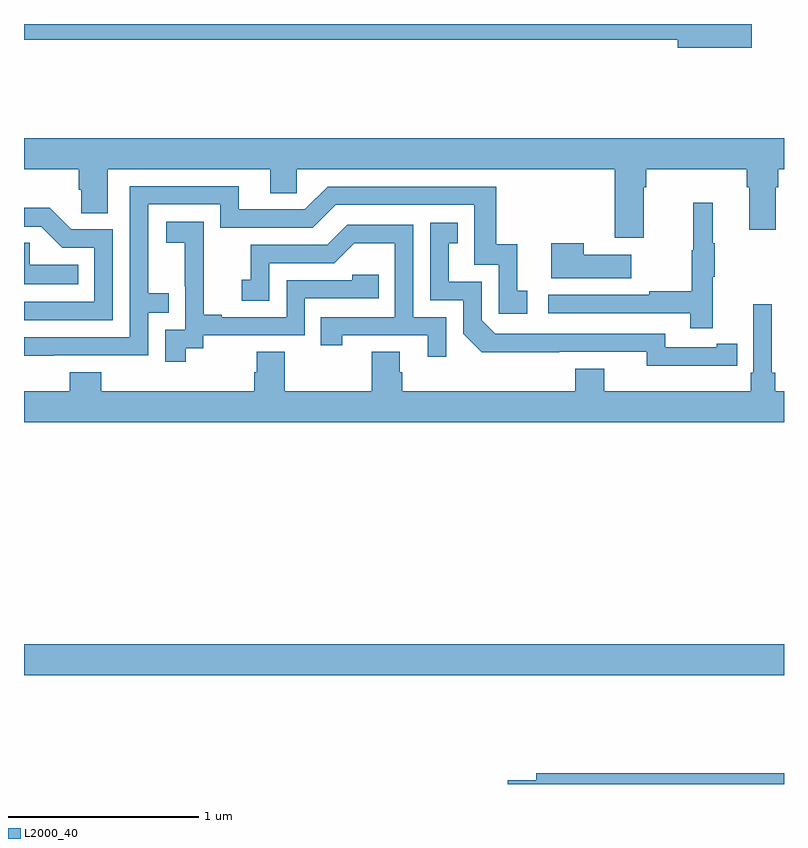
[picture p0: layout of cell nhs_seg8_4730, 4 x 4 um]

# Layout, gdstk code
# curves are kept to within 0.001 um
import gdstk
lib = gdstk.Library(unit=1e-6, precision=1e-09)
def R(c, l, rs):  # rectangles x0, y0, x1, y1
    for r in rs: c.add(gdstk.rectangle(r[:2], r[2:], *l))
def P(c, l, *ps):  # polygons
    for p in ps: c.add(gdstk.Polygon(p, *l))
L2000_40 = (2000, 40)

nhs_seg8_4730 = lib.new_cell('nhs_seg8_4730')
R(nhs_seg8_4730, L2000_40, [(397,1144.472,401,1144.636)])
P(nhs_seg8_4730, L2000_40, [(400.831,1147.9),(397,1147.9),(397,1147.816),(400.442,1147.816),(400.442,1147.774),(400.831,1147.774)],
  [(400.261,1147.04),(400.274,1147.04),(400.274,1147.136),(400.805,1147.136),(400.805,1147.04),(400.817,1147.04),(400.817,1146.816),(400.957,1146.816),(400.957,1147.04),(400.97,1147.04),(400.97,1147.136),(401,1147.136),(401,1147.3),(397,1147.3),(397,1147.136),(397.289,1147.136),(397.289,1147.027),(397.302,1147.027),(397.302,1146.904),(397.441,1146.904),(397.441,1147.136),(398.297,1147.136),(398.297,1147.009),(398.436,1147.009),(398.436,1147.136),(400.109,1147.136),(400.109,1146.774),(400.261,1146.774)],
  [(397.157,1146.156),(397.653,1146.156),(397.653,1146.381),(397.763,1146.381),(397.763,1146.482),(397.653,1146.482),(397.653,1146.951),(398.034,1146.951),(398.034,1146.828),(398.52,1146.828),(398.64,1146.948),(399.369,1146.948),(399.369,1146.633),(399.498,1146.633),(399.498,1146.375),(399.649,1146.375),(399.649,1146.495),(399.596,1146.495),(399.596,1146.742),(399.485,1146.742),(399.485,1147.044),(398.598,1147.044),(398.478,1146.924),(398.131,1146.924),(398.131,1147.047),(397.557,1147.047),(397.557,1146.252),(397,1146.252),(397,1146.155)],
  [(400.625,1146.571),(400.636,1146.571),(400.636,1146.745),(400.625,1146.745),(400.625,1146.958),(400.522,1146.958),(400.522,1146.708),(400.515,1146.708),(400.515,1146.494),(400.291,1146.494),(400.291,1146.474),(399.759,1146.474),(399.759,1146.378),(400.507,1146.378),(400.507,1146.3),(400.625,1146.3)],
  [(397.467,1146.819),(397.248,1146.819),(397.135,1146.932),(397,1146.932),(397,1146.834),(397.091,1146.834),(397.202,1146.723),(397.371,1146.723),(397.371,1146.438),(397,1146.438),(397,1146.342),(397.467,1146.342)],
  [(397.852,1146.193),(397.944,1146.193),(397.944,1146.261),(398.478,1146.261),(398.478,1146.456),(398.867,1146.456),(398.867,1146.579),(398.727,1146.579),(398.727,1146.552),(398.382,1146.552),(398.382,1146.357),(398.041,1146.357),(398.041,1146.37),(397.946,1146.37),(397.946,1146.653),(397.947,1146.653),(397.947,1146.859),(397.749,1146.859),(397.749,1146.749),(397.847,1146.749),(397.847,1146.521),(397.848,1146.521),(397.848,1146.291),(397.743,1146.291),(397.743,1146.123),(397.852,1146.123)],
  [(400.646,1146.102),(400.754,1146.102),(400.754,1146.218),(400.646,1146.218),(400.646,1146.198),(400.374,1146.198),(400.374,1146.27),(399.48,1146.27),(399.408,1146.342),(399.408,1146.543),(399.235,1146.543),(399.235,1146.747),(399.284,1146.747),(399.284,1146.853),(399.138,1146.853),(399.138,1146.447),(399.312,1146.447),(399.312,1146.27),(399.41,1146.173),(400.278,1146.174),(400.278,1146.101)],
  [(399.222,1146.357),(399.048,1146.357),(399.048,1146.843),(398.702,1146.843),(398.597,1146.738),(398.194,1146.738),(398.194,1146.553),(398.145,1146.553),(398.145,1146.444),(398.292,1146.444),(398.292,1146.642),(398.634,1146.642),(398.738,1146.746),(398.952,1146.746),(398.952,1146.357),(398.563,1146.357),(398.563,1146.21),(398.674,1146.21),(398.674,1146.261),(399.125,1146.261),(399.125,1146.15),(399.222,1146.15)],
  [(397.286,1146.634),(397.029,1146.634),(397.029,1146.749),(397,1146.749),(397,1146.53),(397.286,1146.53)],
  [(400.195,1146.685),(399.947,1146.685),(399.947,1146.745),(399.776,1146.745),(399.776,1146.563),(400.195,1146.563)],
  [(401,1145.968),(400.955,1145.968),(400.955,1146.064),(400.936,1146.064),(400.936,1146.424),(400.839,1146.424),(400.839,1146.064),(400.826,1146.064),(400.826,1145.968),(400.054,1145.968),(400.054,1146.085),(399.902,1146.085),(399.902,1145.968),(398.99,1145.968),(398.99,1146.066),(398.977,1146.066),(398.977,1146.176),(398.83,1146.176),(398.83,1145.968),(398.373,1145.968),(398.373,1146.176),(398.225,1146.176),(398.225,1146.066),(398.213,1146.066),(398.213,1145.968),(397.406,1145.968),(397.406,1146.067),(397.241,1146.067),(397.241,1145.968),(397,1145.968),(397,1145.804),(401,1145.804)],
  [(401,1143.956),(399.695,1143.956),(399.695,1143.92),(399.546,1143.92),(399.546,1143.9),(401,1143.9)])

lib.write_gds('nhs_seg8_4730.gds')
